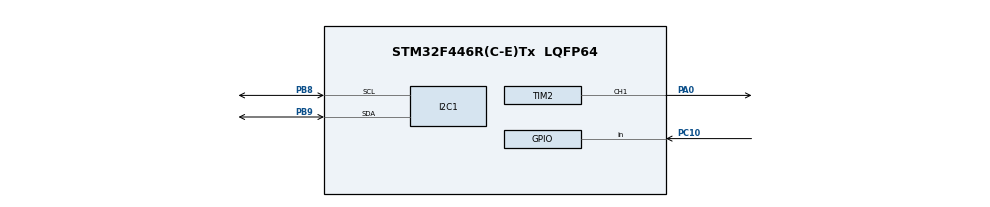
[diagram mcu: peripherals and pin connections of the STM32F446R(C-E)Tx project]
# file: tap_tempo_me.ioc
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I2C1.I2C_Mode=I2C_Fast
Mcu.Family=STM32F4
Mcu.Name=STM32F446R(C-E)Tx
Mcu.Package=LQFP64
NVIC.PriorityGroup=NVIC_PRIORITYGROUP_4
PA0-WKUP.Signal=S_TIM2_CH1_ETR
PB8.Mode=I2C
PB8.Signal=I2C1_SCL
PB9.Mode=I2C
PB9.Signal=I2C1_SDA
PC10.GPIO_PuPd=GPIO_PULLUP
PC10.Signal=GPIO_Input
ProjectManager.HeapSize=0x200
ProjectManager.StackSize=0x400
ProjectManager.TargetToolchain=STM32CubeIDE
RCC.CortexFreq_Value=16000000
RCC.USBFreq_Value=96000000
RCC.VCOOutputFreq_Value=192000000
SH.S_TIM2_CH1_ETR.0=TIM2_CH1,PWM Generation1 CH1
TIM2.Channel-PWM\ Generation1\ CH1=TIM_CHANNEL_1
TIM2.Period=999
TIM2.Prescaler=83
VP_TIM2_VS_ClockSourceINT.Mode=Internal
board=custom

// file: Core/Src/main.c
/* USER CODE BEGIN Header */
/**
  ******************************************************************************
  * @file           : main.c
  * @brief          : Main program body
  ******************************************************************************
  * @attention
  *
  * Copyright (c) 2026 STMicroelectronics.
  * All rights reserved.
  *
  * This software is licensed under terms that can be found in the LICENSE file
  * in the root directory of this software component.
  * If no LICENSE file comes with this software, it is provided AS-IS.
  *
  ******************************************************************************
  */
/* USER CODE END Header */
#include "main.h"

/* USER CODE BEGIN Includes */
#include "fonts.h"
#include "ssd1306.h"
#include <stdio.h>
/* USER CODE END Includes */

I2C_HandleTypeDef hi2c1;

TIM_HandleTypeDef htim2;

/* USER CODE BEGIN PV */
#define SAMPLE_SIZE 512
#define SAMPLE_RATE 8000.0f

uint32_t last_tap_time = 0;   // 마지막으로 버튼을 누른 시간
uint32_t interval_ms = 1000;  // 메트로놈 박자 간격 (초기값 1초 = 60 BPM)
uint32_t last_beep_time = 0;  // 마지막으로 메트로놈 소리가 난 시간
uint8_t metronome_en = 0;

static int beat_count = 0;      // 0, 1, 2, 3 박자 카운터
char oled_bpm_buf[20];          // "BPM: 120" 등을 담을 문자열 버퍼
char oled_beat_buf[20];         // "o - - -" 등을 담을 문자열 버퍼
uint32_t current_bpm = 0;  // 메트로놈 실행 상태 (0: 정지, 1: 작동)
/* USER CODE END PV */

void SystemClock_Config(void);
static void MX_GPIO_Init(void);
static void MX_I2C1_Init(void);
static void MX_TIM2_Init(void);
/* USER CODE BEGIN PFP */
void Beep(uint32_t ms);
void Display_Metronome_Status(uint32_t bpm, int beat);
/* USER CODE END PFP */

int main(void)
{

  /* MCU Configuration--------------------------------------------------------*/

  /* Reset of all peripherals, Initializes the Flash interface and the Systick. */
  HAL_Init();

  /* Configure the system clock */
  SystemClock_Config();

  /* Initialize all configured peripherals */
  MX_GPIO_Init();
  MX_I2C1_Init();
  MX_TIM2_Init();
  /* USER CODE BEGIN 2 */
  HAL_TIM_PWM_Start(&htim2, TIM_CHANNEL_1);
  SSD1306_Init();
  SSD1306_GotoXY (0,0);
  SSD1306_Puts ("-------------------", &Font_7x10, 1);
  SSD1306_GotoXY (39, 18);
  SSD1306_Puts ("WELCOME", &Font_7x10, 1);
  SSD1306_GotoXY (57, 30);
  SSD1306_Puts ("TO", &Font_7x10, 1);
  SSD1306_GotoXY (43, 42);
  SSD1306_Puts ("STempo", &Font_7x10, 1);
  SSD1306_GotoXY (0, 53);
  SSD1306_Puts ("------------------", &Font_7x10, 1);
  SSD1306_UpdateScreen();
  HAL_Delay (1000);
  SSD1306_ScrollRight(0,7);
  HAL_Delay(3000);
  SSD1306_ScrollLeft(0,7);
  HAL_Delay(3000);
  SSD1306_Stopscroll();
  SSD1306_Clear();

  SSD1306_GotoXY (25,20);
  SSD1306_Puts ("Are you", &Font_11x18, 1);
  SSD1306_GotoXY (31,40);
  SSD1306_Puts ("ready?", &Font_11x18, 1);
  SSD1306_UpdateScreen();
  HAL_Delay (100);
  SSD1306_Clear();

  SSD1306_GotoXY (7,27);
  SSD1306_Puts ("SHOW YOUR TEMPO!", &Font_7x10, 1);
  SSD1306_UpdateScreen();
  HAL_Delay (200);
  SSD1306_Clear();
  /* USER CODE END 2 */

  /* Infinite loop */
  /* USER CODE BEGIN WHILE */
  static uint32_t last_tap_time = 0;
  static uint32_t diff = 0;
  static int count = 0;
  uint32_t current_time = 0;

  static uint32_t avg_interval = 0;   // 평균 간격
  static uint32_t last_beep_time = 0; // 마지막으로 메트로놈 소리가 난 시간
  static uint8_t metronome_run = 0;   // 메트로놈 실행 유무 상태

  static uint32_t button_press_start_time = 0;
  static uint8_t long_press_triggered = 0;

  while (1)
  {
    /* USER CODE END WHILE */

    /* USER CODE BEGIN 3 */
	  current_time = HAL_GetTick(); // 현재 시간

	  // 버튼이 처음 눌린 상황 (롱 프레스 포함)
	  if (HAL_GPIO_ReadPin(GPIOC, GPIO_PIN_10) == GPIO_PIN_RESET)
	  {
		  // 버튼이 처음 눌린 상태인 경우
		  if (button_press_start_time == 0)
		  {
			  button_press_start_time = current_time;
			  long_press_triggered = 0;
		  }

		  // 버튼이 눌린 지 1초가 지났고, 롱 프레스 처리를 안 한 상태인 경우
		  if ((current_time - button_press_start_time >= 1000) && (long_press_triggered == 0))
		  {
			  // 초기화됨.
			  metronome_run = 0;
			  count = 0;
			  diff = 0;
			  avg_interval = 0;
			  last_tap_time = 0;
			  beat_count = -1;
			  current_bpm = 0;

			  long_press_triggered = 1; // 롱 프레스 중복 실행 방지

			  // 소리를 통해 멈춤을 알림.
			  Beep(300);

			  Display_Metronome_Status(0, -1);
		  }
	  }
	  else
	  {
		  // 버튼에서 손을 뗐을 떄
		  if (button_press_start_time > 0)
		  {
			  // 롱 프레스가 아닌 경우
			  if (long_press_triggered == 0)
			  {
				  // 첫 번째 버튼 입력 감지
				  if (count == 0)
				  {
					  metronome_run = 0;
					  last_tap_time = button_press_start_time;
					  count = 1;
					  Beep(50);
				  }
				  // 2번째, 3번째, 4번째 탭 누적
				  else if (count > 0 && count < 4)
				  {
					  diff += (button_press_start_time - last_tap_time);
					  last_tap_time = button_press_start_time;
					  count++;
					  Beep(50);
				  }

				  // 4번 다 눌렀을 때 BPM 최종 계산
				  if (count == 4)
				  {
					  avg_interval = diff / 3;
					  current_bpm = 60000 / avg_interval;
					  beat_count = 0;
					  last_beep_time = HAL_GetTick();
					  metronome_run = 1;

					  Display_Metronome_Status(current_bpm, beat_count);

					  count = 0;
					  diff = 0;
					  last_tap_time = 0;
				  }
			  }

			  // 손을 뗐으므로 버튼 관련 타이머 변수들 리셋
			  button_press_start_time = 0;
			  long_press_triggered = 0;
			  HAL_Delay(40);
		  }
	  }

	  //메트로놈 무한 반복 재생
	  if (metronome_run == 1 && avg_interval > 0)
	  {
		  if (HAL_GetTick() - last_beep_time >= avg_interval)
		  {
			  last_beep_time = HAL_GetTick();

			  beat_count = (beat_count + 1) % 4;
			  Display_Metronome_Status(current_bpm, beat_count);
			  Beep(32);
		  }
	  }
  }
  /* USER CODE END 3 */
}

void SystemClock_Config(void)
{
  RCC_OscInitTypeDef RCC_OscInitStruct = {0};
  RCC_ClkInitTypeDef RCC_ClkInitStruct = {0};

  /** Configure the main internal regulator output voltage
  */
  __HAL_RCC_PWR_CLK_ENABLE();
  __HAL_PWR_VOLTAGESCALING_CONFIG(PWR_REGULATOR_VOLTAGE_SCALE3);

  /** Initializes the RCC Oscillators according to the specified parameters
  * in the RCC_OscInitTypeDef structure.
  */
  RCC_OscInitStruct.OscillatorType = RCC_OSCILLATORTYPE_HSI;
  RCC_OscInitStruct.HSIState = RCC_HSI_ON;
  RCC_OscInitStruct.HSICalibrationValue = RCC_HSICALIBRATION_DEFAULT;
  RCC_OscInitStruct.PLL.PLLState = RCC_PLL_NONE;
  if (HAL_RCC_OscConfig(&RCC_OscInitStruct) != HAL_OK)
  {
    Error_Handler();
  }

  /** Initializes the CPU, AHB and APB buses clocks
  */
  RCC_ClkInitStruct.ClockType = RCC_CLOCKTYPE_HCLK|RCC_CLOCKTYPE_SYSCLK
                              |RCC_CLOCKTYPE_PCLK1|RCC_CLOCKTYPE_PCLK2;
  RCC_ClkInitStruct.SYSCLKSource = RCC_SYSCLKSOURCE_HSI;
  RCC_ClkInitStruct.AHBCLKDivider = RCC_SYSCLK_DIV1;
  RCC_ClkInitStruct.APB1CLKDivider = RCC_HCLK_DIV1;
  RCC_ClkInitStruct.APB2CLKDivider = RCC_HCLK_DIV1;

  if (HAL_RCC_ClockConfig(&RCC_ClkInitStruct, FLASH_LATENCY_0) != HAL_OK)
  {
    Error_Handler();
  }
}

static void MX_I2C1_Init(void)
{

  hi2c1.Instance = I2C1;
  hi2c1.Init.ClockSpeed = 400000;
  hi2c1.Init.DutyCycle = I2C_DUTYCYCLE_2;
  hi2c1.Init.OwnAddress1 = 0;
  hi2c1.Init.AddressingMode = I2C_ADDRESSINGMODE_7BIT;
  hi2c1.Init.DualAddressMode = I2C_DUALADDRESS_DISABLE;
  hi2c1.Init.OwnAddress2 = 0;
  hi2c1.Init.GeneralCallMode = I2C_GENERALCALL_DISABLE;
  hi2c1.Init.NoStretchMode = I2C_NOSTRETCH_DISABLE;
  if (HAL_I2C_Init(&hi2c1) != HAL_OK)
  {
    Error_Handler();
  }

}

static void MX_TIM2_Init(void)
{

  TIM_ClockConfigTypeDef sClockSourceConfig = {0};
  TIM_MasterConfigTypeDef sMasterConfig = {0};
  TIM_OC_InitTypeDef sConfigOC = {0};

  htim2.Instance = TIM2;
  htim2.Init.Prescaler = 83;
  htim2.Init.CounterMode = TIM_COUNTERMODE_UP;
  htim2.Init.Period = 999;
  htim2.Init.ClockDivision = TIM_CLOCKDIVISION_DIV1;
  htim2.Init.AutoReloadPreload = TIM_AUTORELOAD_PRELOAD_DISABLE;
  if (HAL_TIM_Base_Init(&htim2) != HAL_OK)
  {
    Error_Handler();
  }
  sClockSourceConfig.ClockSource = TIM_CLOCKSOURCE_INTERNAL;
  if (HAL_TIM_ConfigClockSource(&htim2, &sClockSourceConfig) != HAL_OK)
  {
    Error_Handler();
  }
  if (HAL_TIM_PWM_Init(&htim2) != HAL_OK)
  {
    Error_Handler();
  }
  sMasterConfig.MasterOutputTrigger = TIM_TRGO_RESET;
  sMasterConfig.MasterSlaveMode = TIM_MASTERSLAVEMODE_DISABLE;
  if (HAL_TIMEx_MasterConfigSynchronization(&htim2, &sMasterConfig) != HAL_OK)
  {
    Error_Handler();
  }
  sConfigOC.OCMode = TIM_OCMODE_PWM1;
  sConfigOC.Pulse = 0;
  sConfigOC.OCPolarity = TIM_OCPOLARITY_HIGH;
  sConfigOC.OCFastMode = TIM_OCFAST_DISABLE;
  if (HAL_TIM_PWM_ConfigChannel(&htim2, &sConfigOC, TIM_CHANNEL_1) != HAL_OK)
  {
    Error_Handler();
  }
  HAL_TIM_MspPostInit(&htim2);

}

static void MX_GPIO_Init(void)
{
  GPIO_InitTypeDef GPIO_InitStruct = {0};

  /* GPIO Ports Clock Enable */
  __HAL_RCC_GPIOA_CLK_ENABLE();
  __HAL_RCC_GPIOC_CLK_ENABLE();
  __HAL_RCC_GPIOB_CLK_ENABLE();

  /*Configure GPIO pin : PC10 */
  GPIO_InitStruct.Pin = GPIO_PIN_10;
  GPIO_InitStruct.Mode = GPIO_MODE_INPUT;
  GPIO_InitStruct.Pull = GPIO_PULLUP;
  HAL_GPIO_Init(GPIOC, &GPIO_InitStruct);

}

/* USER CODE BEGIN 4 */
void Beep(uint32_t ms)
{
    __HAL_TIM_SET_COMPARE(&htim2, TIM_CHANNEL_1, 500);

    HAL_Delay(ms);

    __HAL_TIM_SET_COMPARE(&htim2, TIM_CHANNEL_1, 0);
}

void Display_Metronome_Status(uint32_t bpm, int beat)
{
    // 박자 상태 문자열
    if (beat == 0)      strcpy(oled_beat_buf, "O  -  -  -");
    else if (beat == 1) strcpy(oled_beat_buf, "-  O  -  -");
    else if (beat == 2) strcpy(oled_beat_buf, "-  -  O  -");
    else if (beat == 3) strcpy(oled_beat_buf, "-  -  -  O");
    else                strcpy(oled_beat_buf, "-  -  -  -"); // 정지 상태 등

    // BPM 문자열
    if (bpm == 0) sprintf(oled_bpm_buf, "BPM: ---");
    else          sprintf(oled_bpm_buf, "BPM: %lu", bpm);

    // OLED 출력
    // SSD1306_Clear(); // 화면 전체 지우기

    SSD1306_GotoXY(7, 5);
    SSD1306_Puts("SHOW YOUR TEMPO!", &Font_7x10, 1);

    SSD1306_GotoXY(10, 22);
    SSD1306_Puts(oled_bpm_buf, &Font_11x18, 1);

    SSD1306_GotoXY(15, 45);
    SSD1306_Puts(oled_beat_buf, &Font_11x18, 1);

    SSD1306_UpdateScreen();
}
/* USER CODE END 4 */

void Error_Handler(void)
{
  __disable_irq();
  while (1)
  {
  }
}
